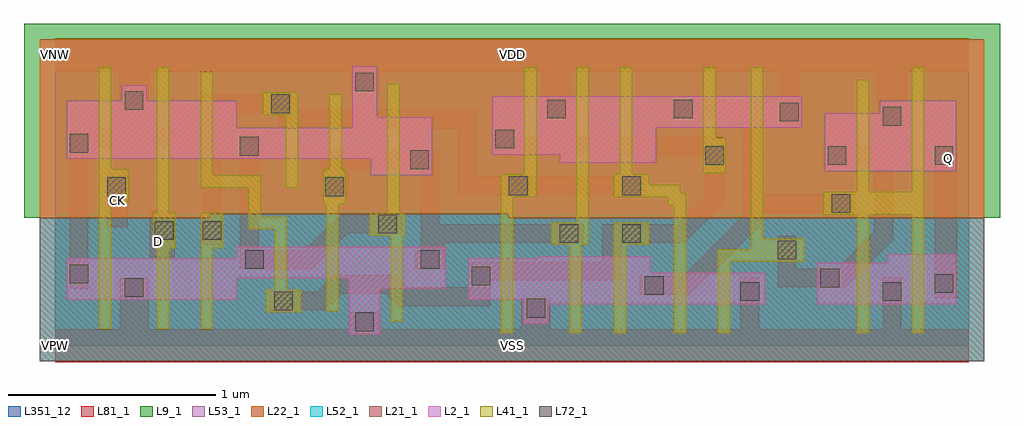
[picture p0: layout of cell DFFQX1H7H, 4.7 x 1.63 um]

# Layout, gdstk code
import gdstk
lib = gdstk.Library(unit=1e-6, precision=1e-09)
def R(c, l, rs):  # rectangles x0, y0, x1, y1
    for r in rs: c.add(gdstk.rectangle(r[:2], r[2:], *l))
def P(c, l, *ps):  # polygons
    for p in ps: c.add(gdstk.Polygon(p, *l))
L2_1 = (2, 1)
L9_1 = (9, 1)
L21_1 = (21, 1)
L22_1 = (22, 1)
L41_1 = (41, 1)
L52_1 = (52, 1)
L53_1 = (53, 1)
L72_1 = (72, 1)
L81_1 = (81, 1)
L351_12 = (351, 12)

dffqx1h7h = lib.new_cell('DFFQX1H7H')
P(dffqx1h7h, L2_1, [(1.415,0.055),(1.415,0.325),(0.875,0.325),(0.875,0.22),(0.055,0.22),(0.055,0.42),(0.875,0.42),(0.875,0.475),(1.88,0.475),(1.88,0.275),(1.565,0.275),(1.565,0.055)],
  [(2.255,0.105),(2.255,0.22),(1.99,0.22),(1.99,0.42),(2.33,0.42),(2.33,0.43),(2.865,0.43),(2.865,0.35),(3.42,0.35),(3.42,0.2),(2.375,0.2),(2.375,0.105)],
  [(2.43,0.88),(2.43,0.92),(2.105,0.92),(2.105,1.2),(3.595,1.2),(3.595,1.05),(2.895,1.05),(2.895,0.88)],
  [(1.52,0.82),(1.52,0.9),(0.055,0.9),(0.055,1.18),(0.32,1.18),(0.32,1.255),(0.44,1.255),(0.44,1.18),(0.875,1.18),(0.875,1.05),(1.43,1.05),(1.43,1.345),(1.55,1.345),(1.55,1.1),(1.815,1.1),(1.815,0.82)],
  [(3.705,0.84),(3.705,1.12),(3.97,1.12),(3.97,1.18),(4.34,1.18),(4.34,0.84)],
  [(3.67,0.2),(3.67,0.4),(4.01,0.4),(4.01,0.44),(4.34,0.44),(4.34,0.2)])
P(dffqx1h7h, L9_1, [(-0.15,0.615),(-0.15,1.55),(4.55,1.55),(4.55,0.615),(2.181,0.615),(2.181,0.635),(0.741,0.635),(0.741,0.615)])
P(dffqx1h7h, L21_1, [(-0.075,-0.075),(-0.075,0.615),(0.741,0.615),(0.741,0.635),(2.181,0.635),(2.181,0.615),(4.475,0.615),(4.475,-0.075)])
P(dffqx1h7h, L22_1, [(-0.075,0.615),(-0.075,1.475),(4.475,1.475),(4.475,0.615),(2.181,0.615),(2.181,0.635),(0.741,0.635),(0.741,0.615)])
P(dffqx1h7h, L41_1, [(0.49,0.08),(0.49,0.47),(0.47,0.47),(0.47,0.64),(0.49,0.64),(0.49,1.34),(0.55,1.34),(0.55,0.64),(0.58,0.64),(0.58,0.47),(0.55,0.47),(0.55,0.08)],
  [(1.015,0.16),(1.015,0.27),(1.055,0.27),(1.055,0.56),(0.93,0.56),(0.93,0.76),(0.7,0.76),(0.7,1.32),(0.76,1.32),(0.76,0.82),(0.99,0.82),(0.99,0.62),(1.115,0.62),(1.115,0.27),(1.185,0.27),(1.185,0.16)],
  [(1.305,0.165),(1.305,0.68),(1.29,0.68),(1.29,0.85),(1.32,0.85),(1.32,1.21),(1.38,1.21),(1.38,0.85),(1.4,0.85),(1.4,0.68),(1.365,0.68),(1.365,0.165)],
  [(1.615,0.115),(1.615,0.53),(1.515,0.53),(1.515,0.64),(1.6,0.64),(1.6,1.26),(1.66,1.26),(1.66,0.64),(1.685,0.64),(1.685,0.53),(1.675,0.53),(1.675,0.115)],
  [(2.145,0.06),(2.145,0.825),(2.26,0.825),(2.26,1.34),(2.32,1.34),(2.32,0.715),(2.205,0.715),(2.205,0.06)],
  [(2.475,0.06),(2.475,0.485),(2.39,0.485),(2.39,0.595),(2.51,0.595),(2.51,1.34),(2.57,1.34),(2.57,0.485),(2.535,0.485),(2.535,0.06)],
  [(2.98,0.06),(2.98,0.675),(2.95,0.675),(2.95,0.715),(2.69,0.715),(2.69,0.825),(2.72,0.825),(2.72,1.34),(2.78,1.34),(2.78,0.825),(2.86,0.825),(2.86,0.775),(3.01,0.775),(3.01,0.735),(3.04,0.735),(3.04,0.06)],
  [(0.21,0.08),(0.21,1.34),(0.27,1.34),(0.27,0.85),(0.355,0.85),(0.355,0.68),(0.27,0.68),(0.27,0.08)],
  [(3.19,0.06),(3.19,0.465),(3.35,0.465),(3.35,1.34),(3.41,1.34),(3.41,0.515),(3.61,0.515),(3.61,0.405),(3.25,0.405),(3.25,0.06)],
  [(3.86,0.06),(3.86,0.63),(3.7,0.63),(3.7,0.74),(3.86,0.74),(3.86,1.28),(3.92,1.28),(3.92,0.74),(4.125,0.74),(4.125,1.34),(4.185,1.34),(4.185,0.06),(4.125,0.06),(4.125,0.63),(3.92,0.63),(3.92,0.06)],
  [(0.7,0.08),(0.7,0.64),(0.81,0.64),(0.81,0.47),(0.76,0.47),(0.76,0.08)],
  [(2.69,0.06),(2.69,0.595),(2.86,0.595),(2.86,0.485),(2.75,0.485),(2.75,0.06)],
  [(1.11,0.76),(1.11,1.11),(1,1.11),(1,1.22),(1.17,1.22),(1.17,0.76)],
  [(3.12,0.83),(3.12,1.34),(3.18,1.34),(3.18,1),(3.23,1),(3.23,0.83)])
P(dffqx1h7h, L52_1, [(-0.075,-0.075),(-0.075,0.615),(0.741,0.615),(0.741,0.635),(2.181,0.635),(2.181,0.615),(4.475,0.615),(4.475,-0.075)])
P(dffqx1h7h, L53_1, [(-0.075,0.615),(-0.075,1.475),(4.475,1.475),(4.475,0.615),(2.181,0.615),(2.181,0.635),(0.741,0.635),(0.741,0.615)])
R(dffqx1h7h, L72_1, [(1.445,0.07,1.535,0.16), (2.27,0.135,2.36,0.225), (1.055,0.17,1.145,0.26), (3.3,0.215,3.39,0.305), (3.985,0.215,4.075,0.305), (0.335,0.235,0.425,0.325), (2.84,0.245,2.93,0.335), (4.235,0.254,4.325,0.344), (3.685,0.28,3.775,0.37), (2.005,0.29,2.095,0.38), (0.07,0.3,0.16,0.39), (0.915,0.37,1.005,0.46), (1.76,0.37,1.85,0.46), (3.48,0.415,3.57,0.505), (2.43,0.495,2.52,0.585), (2.73,0.495,2.82,0.585), (0.48,0.51,0.57,0.6), (0.71,0.51,0.8,0.6), (1.555,0.54,1.645,0.63), (3.74,0.64,3.83,0.73), (0.25,0.72,0.34,0.81), (1.3,0.72,1.39,0.81), (2.185,0.725,2.275,0.815), (2.73,0.725,2.82,0.815), (1.71,0.85,1.8,0.94), (3.13,0.87,3.22,0.96), (3.72,0.87,3.81,0.96), (4.235,0.87,4.325,0.96), (0.89,0.915,0.98,1.005), (0.07,0.93,0.16,1.02), (2.12,0.95,2.21,1.04), (3.985,1.06,4.075,1.15), (3.49,1.08,3.58,1.17), (2.37,1.095,2.46,1.185), (2.98,1.095,3.07,1.185), (1.04,1.12,1.13,1.21), (0.335,1.135,0.425,1.225), (1.445,1.225,1.535,1.315)])
R(dffqx1h7h, L81_1, [(0.004,-0.076,4.396,0.076), (4.235,0.229,4.345,0.985), (4.239,0.229,4.341,0.981), (0.455,0.425,0.575,0.65), (0.459,0.429,0.571,0.646), (0.25,0.57,0.35,0.84), (0.254,0.574,0.346,0.836), (0.004,1.324,4.396,1.476)])
P(dffqx1h7h, L81_1, [(3.49,1.055),(3.49,1.32),(2.485,1.32),(2.485,1.095),(2.345,1.095),(2.345,1.32),(1.56,1.32),(1.56,1.225),(1.42,1.225),(1.42,1.32),(0.45,1.32),(0.45,1.135),(0.31,1.135),(0.31,1.32),(0,1.32),(0,1.48),(4.4,1.48),(4.4,1.32),(4.1,1.32),(4.1,1.06),(3.96,1.06),(3.96,1.32),(3.58,1.32),(3.58,1.055)],
  [(0,-0.08),(0,0.08),(0.31,0.08),(0.31,0.325),(0.45,0.325),(0.45,0.08),(1.42,0.08),(1.42,0.16),(1.56,0.16),(1.56,0.08),(2.245,0.08),(2.245,0.225),(2.385,0.225),(2.385,0.08),(3.3,0.08),(3.3,0.33),(3.39,0.33),(3.39,0.08),(3.985,0.08),(3.985,0.33),(4.075,0.33),(4.075,0.08),(4.4,0.08),(4.4,-0.08)],
  [(0.07,0.275),(0.07,1.045),(0.71,1.045),(0.71,1.21),(1.165,1.21),(1.165,1.135),(2.03,1.135),(2.03,0.815),(2.849,0.815),(2.849,0.725),(1.94,0.725),(1.94,1.045),(1.075,1.045),(1.075,1.12),(0.8,1.12),(0.8,0.485),(0.71,0.485),(0.71,0.955),(0.16,0.955),(0.16,0.275)],
  [(1.03,0.17),(1.03,0.26),(1.262,0.26),(1.342,0.34),(1.636,0.34),(1.696,0.28),(2.005,0.28),(2.005,0.405),(2.635,0.405),(2.635,0.585),(2.993,0.585),(3.13,0.722),(3.13,0.915),(2.12,0.915),(2.12,1.065),(2.21,1.065),(2.21,1.005),(3.22,1.005),(3.22,0.684),(3.031,0.495),(2.725,0.495),(2.725,0.315),(2.095,0.315),(2.095,0.19),(1.658,0.19),(1.598,0.25),(1.38,0.25),(1.3,0.17)],
  [(1.735,0.37),(1.735,0.46),(1.76,0.46),(1.76,0.85),(1.415,0.85),(1.415,0.72),(1.275,0.72),(1.275,0.94),(1.85,0.94),(1.85,0.585),(2.545,0.585),(2.545,0.495),(1.875,0.495),(1.875,0.37)],
  [(2.815,0.245),(2.815,0.335),(3.022,0.335),(3.31,0.623),(3.31,1.095),(2.955,1.095),(2.955,1.185),(3.4,1.185),(3.4,0.73),(3.855,0.73),(3.855,0.64),(3.4,0.64),(3.4,0.585),(3.06,0.245)],
  [(0.89,0.37),(0.89,1.03),(0.98,1.03),(0.98,0.46),(1.203,0.46),(1.373,0.63),(1.67,0.63),(1.67,0.54),(1.411,0.54),(1.241,0.37)],
  [(3.48,0.28),(3.48,0.53),(3.57,0.53),(3.57,0.37),(3.766,0.37),(3.945,0.549),(3.945,0.87),(3.695,0.87),(3.695,0.96),(4.035,0.96),(4.035,0.511),(3.804,0.28)])
R(dffqx1h7h, L351_12, [(0,0,4.4,1.4)])
dffqx1h7h.add(gdstk.Label('Q', (4.3,0.9), layer=81, texttype=6))
dffqx1h7h.add(gdstk.Label('VDD', (2.2,1.4), layer=81, texttype=6))
dffqx1h7h.add(gdstk.Label('VSS', (2.2,0), layer=81, texttype=6))
dffqx1h7h.add(gdstk.Label('CK', (0.3,0.7), layer=81, texttype=6))
dffqx1h7h.add(gdstk.Label('D', (0.5,0.5), layer=81, texttype=6))
dffqx1h7h.add(gdstk.Label('VPW', (0,0), layer=261, texttype=12))
dffqx1h7h.add(gdstk.Label('VNW', (0,1.4), layer=9, texttype=1))

lib.write_gds('DFFQX1H7H.gds')
